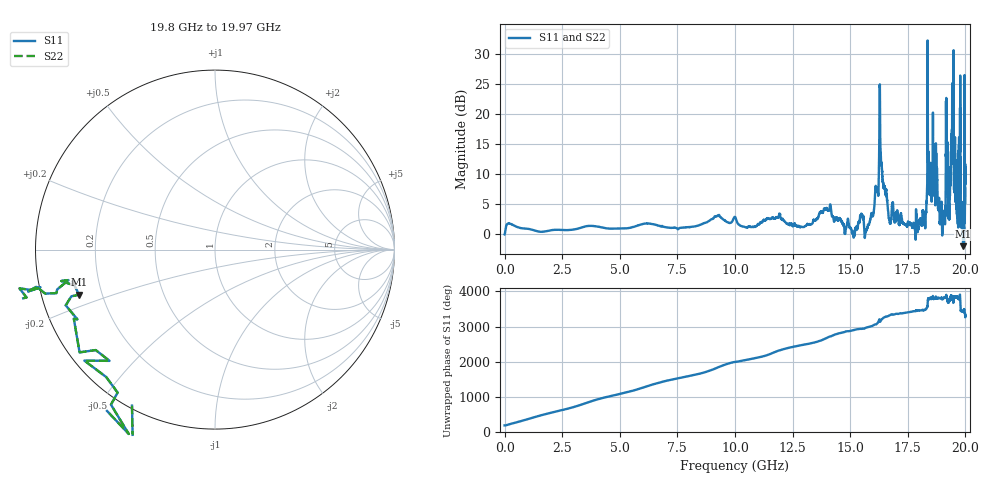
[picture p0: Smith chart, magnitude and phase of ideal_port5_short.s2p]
! Created with skrf (http://scikit-rf.org).
# GHz S RI R 50.0
!freq ReS11 ImS11 ReS21 ImS21 ReS12 ImS12 ReS22 ImS22
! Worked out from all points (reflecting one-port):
!   10001 points, 1 MHz to 20 GHz, reference 50 ohm
!   lowest |S11| = -2.0 dB at 19.91 GHz (marker M1), VSWR 8.92, Z = 5.75 - j7.98 ohm
!   phase of S11 starts at 180 deg and turns +3124 deg over the sweep
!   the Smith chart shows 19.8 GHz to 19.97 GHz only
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0.001  -1 0.00203  0 0  0 0  -1 0.00203
3.334833  0.6919 0.9042  0 0  0 0  0.6919 0.9042
6.668667  0.808 -0.8683  0 0  0 0  0.808 -0.8683
8.272586  -1.161 -0.1173  0 0  0 0  -1.161 -0.1173
9.162542  1.397 0.2004  0 0  0 0  1.397 0.2004
10.0005  -1.382 -0.1939  0 0  0 0  -1.382 -0.1939
13.33433  1.206 0.1648  0 0  0 0  1.206 0.1648
14.0583  -1.578 0.0505  0 0  0 0  -1.578 0.0505
14.90625  1.29 -0.3252  0 0  0 0  1.29 -0.3252
15.87621  -0.7515 1.094  0 0  0 0  -0.7515 1.094
16.12219  -2.354 0.019  0 0  0 0  -2.354 0.019
16.28819  0.3528 -17.59  0 0  0 0  0.3528 -17.59
16.49018  2.179 1.163  0 0  0 0  2.179 1.163
16.66817  0.592 1.252  0 0  0 0  0.592 1.252
17.59012  -1.235 0.1367  0 0  0 0  -1.235 0.1367
18.26209  -0.3792 -1.118  0 0  0 0  -0.3792 -1.118
18.46408  -1.892 -1.145  0 0  0 0  -1.892 -1.145
19.11404  -1.086 -0.6592  0 0  0 0  -1.086 -0.6592
19.28404  -0.2592 1.356  0 0  0 0  -0.2592 1.356
19.46403  -3.109 -7.958  0 0  0 0  -3.109 -7.958
19.91  -0.7577 -0.2515  0 0  0 0  -0.7577 -0.2515
20  1.583 3.253  0 0  0 0  1.583 3.253
